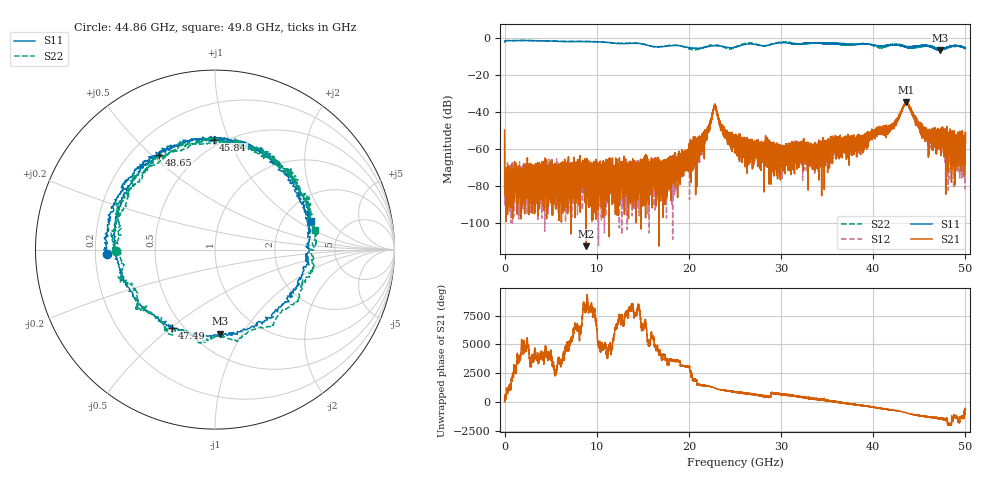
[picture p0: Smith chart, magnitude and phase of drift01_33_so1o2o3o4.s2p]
!Created with skrf (http://scikit-rf.org).
# Hz S RI R 50.0
!freq ReS11 ImS11 ReS21 ImS21 ReS12 ImS12 ReS22 ImS22
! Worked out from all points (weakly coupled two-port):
!   10001 points, 300 kHz to 50 GHz, reference 50 ohm
!   highest |S21| = -34.60 dB at 43.61 GHz (marker M1); lowest = -112.7 dB at 8.835 GHz (marker M2)
!   lowest |S11| = -6.6 dB at 47.26 GHz (marker M3), VSWR 2.77, Z = 33.6 - j40.3 ohm
!   |S11| at or under -10 dB: nowhere
!   |S22| runs from -6.4 to -1.4 dB; largest |S21 - S12| = 0.0038
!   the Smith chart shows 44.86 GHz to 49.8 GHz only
!   S11 on the Smith chart (normalised r, x): 44.86 GHz: 0.25, -0.02; 45.84 GHz: 0.45, +0.88; 47.49 GHz: 0.44, -0.51; 48.65 GHz: 0.31, +0.53; 49.8 GHz: 2.84, +1.29
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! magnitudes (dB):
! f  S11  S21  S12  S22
! 300 kHz  -2.1  -49.8  -56.7  -2.0
! 255.3 MHz  -1.4  -77.0  -82.5  -1.4
! 665.3 MHz  -1.5  -73.3  -100.0  -1.5
! 8.335 GHz  -2.0  -69.8  -71.2  -1.8
! 8.835 GHz  -2.0  -112.7  -73.7  -1.8
! 16.67 GHz  -4.8  -83.9  -69.2  -4.8
! 20.97 GHz  -5.7  -59.0  -60.7  -6.1
! 21.92 GHz  -4.8  -52.1  -51.7  -4.5
! 22.81 GHz  -4.3  -36.5  -36.1  -4.0
! 23.66 GHz  -4.6  -49.4  -51.0  -4.8
! 25 GHz  -5.0  -62.4  -56.2  -5.1
! 30.02 GHz  -2.6  -57.9  -62.8  -2.3
! 33.34 GHz  -2.6  -57.9  -62.2  -2.6
! 41.67 GHz  -3.9  -48.6  -49.8  -4.4
! 43.61 GHz  -4.7  -34.6  -35.2  -4.9
! 44.86 GHz  -4.4  -46.5  -46.1  -5.1
! 45.84 GHz  -4.3  -53.6  -51.9  -4.4
! 47.26 GHz  -6.6  -52.7  -53.6  -5.7
! 47.49 GHz  -6.1  -56.7  -53.4  -6.1
! 48.65 GHz  -4.3  -57.4  -61.7  -4.7
! 49.8 GHz  -5.1  -55.9  -59.6  -4.9
! 50 GHz  -5.7  -56.6  -54.6  -5.3
